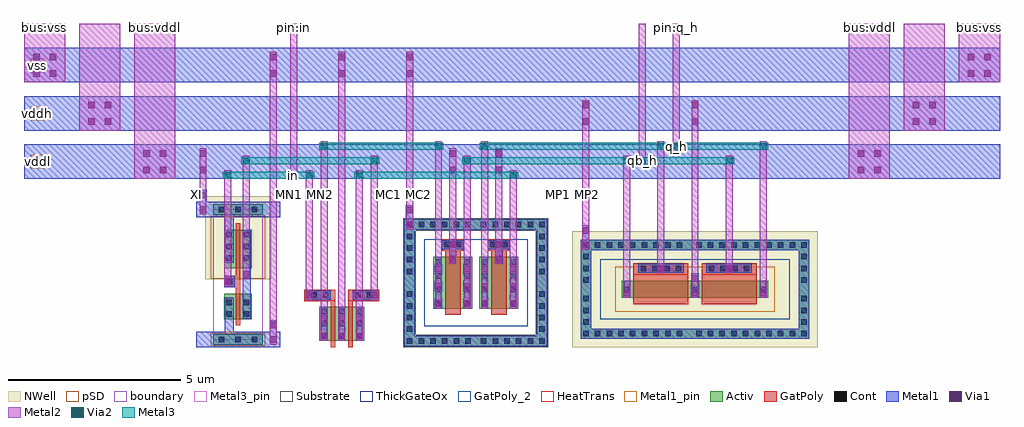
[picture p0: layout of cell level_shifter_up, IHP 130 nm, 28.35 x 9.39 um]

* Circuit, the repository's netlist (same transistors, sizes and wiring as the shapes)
** sch_path: /foss/designs/Designs/bidir-level-shifter/xschem/schematics/level_shifter_up.sch
.subckt level_shifter_up in q_h qb_h vddl vddh vss
*.PININFO vddh:B vss:B qb_h:B q_h:B vddl:B in:B
MMP1 qb_h q_h vddh vddh sg13_hv_pmos w=0.5u l=1.6u ng=1
MMP2 q_h qb_h vddh vddh sg13_hv_pmos w=0.5u l=1.6u ng=1
MMC1 qb_h vddl net1 vss sg13_hv_nmos w=1.5u l=0.45u ng=1
MMC2 q_h vddl net2 vss sg13_hv_nmos w=1.5u l=0.45u ng=1
MMN1 net1 in vss vss sg13_lv_nmos w=1.0u l=0.13u ng=1
MMN2 net2 net3 vss vss sg13_lv_nmos w=1.0u l=0.13u ng=1
XI net3 in vddl vss sg13cmos5l_inv_1
.ends

* expanding   symbol:  logic_gates/sg13cmos5l_inv_1.sym # of pins=4
** sym_path: /foss/designs/Designs/bidir-level-shifter/xschem/logic_gates/sg13cmos5l_inv_1.sym
** sch_path: /foss/designs/Designs/bidir-level-shifter/xschem/logic_gates/sg13cmos5l_inv_1.sch
.subckt sg13cmos5l_inv_1 Y A VDD VSS
*.PININFO Y:B A:B VDD:B VSS:B
MMN0 Y A VSS VSS sg13_lv_nmos w=0.74u l=0.13u ng=1
MMP0 Y A VDD VDD sg13_lv_pmos w=1.12u l=0.13u ng=1
.ends

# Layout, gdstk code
import gdstk
lib = gdstk.Library(unit=1e-6, precision=1e-09)
def R(c, l, rs):  # rectangles x0, y0, x1, y1
    for r in rs: c.add(gdstk.rectangle(r[:2], r[2:], *l))
def A(c, l, x, y, w, h, nx, ny, dx, dy):  # array of equal rectangles
    R(c, l, [(x+i*dx, y+j*dy, x+i*dx+w, y+j*dy+h) for i in range(nx) for j in range(ny)])
def P(c, l, *ps):  # polygons
    for p in ps: c.add(gdstk.Polygon(p, *l))
Activ = (1, 0)
GatPoly = (5, 0)
GatPoly_2 = (5, 2)
Cont = (6, 0)
Metal1 = (8, 0)
Metal1_pin = (8, 2)
Metal2 = (10, 0)
pSD = (14, 0)
Via1 = (19, 0)
Via2 = (29, 0)
Metal3 = (30, 0)
Metal3_pin = (30, 2)
NWell = (31, 0)
Substrate = (40, 0)
ThickGateOx = (44, 0)
HeatTrans = (51, 0)
boundary = (189, 4)

sg13cmos5l_inv_1 = lib.new_cell('sg13cmos5l_inv_1')
R(sg13cmos5l_inv_1, Activ, [(0,-0.15,1.44,0.15), (0.31,0.59,1.12,1.33), (0.31,2.075,1.12,3.195), (0,3.63,1.44,3.93)])
P(sg13cmos5l_inv_1, GatPoly, [(0.65,0.41),(0.65,1.52),(0.31,1.52),(0.31,1.85),(0.65,1.85),(0.65,3.375),(0.78,3.375),(0.78,0.41)])
A(sg13cmos5l_inv_1, Cont, 0.38, 2.285, 0.16, 0.16, 1, 3, 0, 0.34)
A(sg13cmos5l_inv_1, Cont, 0.89, 2.285, 0.16, 0.16, 1, 3, 0, 0.34)
R(sg13cmos5l_inv_1, Cont, [(0.16,-0.08,0.32,0.08), (0.16,-0.08,0.32,0.08), (0.64,-0.08,0.8,0.08), (0.64,-0.08,0.8,0.08), (1.12,-0.08,1.28,0.08), (1.12,-0.08,1.28,0.08), (0.38,0.66,0.54,0.82), (0.89,0.66,1.05,0.82), (0.38,1,0.54,1.16), (0.89,1,1.05,1.16), (0.395,1.605,0.555,1.765), (0.16,3.7,0.32,3.86), (0.16,3.7,0.32,3.86), (0.64,3.7,0.8,3.86), (0.64,3.7,0.8,3.86), (1.12,3.7,1.28,3.86), (1.12,3.7,1.28,3.86)])
R(sg13cmos5l_inv_1, Metal1, [(0.855,0.61,1.085,3.175), (0.31,1.52,0.625,1.85)])
P(sg13cmos5l_inv_1, Metal1, [(0,-0.22),(0,0.22),(0.33,0.22),(0.33,1.21),(0.59,1.21),(0.59,0.22),(1.44,0.22),(1.44,-0.22)],
  [(0.33,2.235),(0.33,3.56),(0,3.56),(0,4),(1.44,4),(1.44,3.56),(0.59,3.56),(0.59,2.235)])
R(sg13cmos5l_inv_1, Metal1_pin, [(0,-0.22,1.44,0.22), (0.855,0.61,1.085,3.175), (0.31,1.52,0.625,1.85), (0,3.56,1.44,4)])
R(sg13cmos5l_inv_1, pSD, [(-0.07,-0.18,1.51,0.18), (-0.07,1.76,1.51,3.6)])
R(sg13cmos5l_inv_1, NWell, [(-0.24,1.75,1.68,4.17)])
R(sg13cmos5l_inv_1, boundary, [(0,0,1.44,3.78)])
sg13cmos5l_inv_1.add(gdstk.Label('VDD', (0.705,3.78), layer=8, texttype=25))
sg13cmos5l_inv_1.add(gdstk.Label('VSS', (0.72,-0.02), layer=8, texttype=25))
sg13cmos5l_inv_1.add(gdstk.Label('A', (0.48,1.68), layer=8, texttype=25))
sg13cmos5l_inv_1.add(gdstk.Label('Y', (0.98,1.69), layer=8, texttype=25))

nmos = lib.new_cell('nmos')
A(nmos, Activ, 0, 0, 0.3, 0.3, 3, 1, 0.51, 0)
R(nmos, Activ, [(0,0,1.32,1)])
R(nmos, GatPoly, [(0.34,-0.18,0.47,1.18), (0.85,-0.18,0.98,1.18)])
R(nmos, GatPoly_2, [(0.34,-0.18,0.47,1.18)])
A(nmos, Cont, 0.07, 0.07, 0.16, 0.16, 3, 3, 0.51, 0.35)
A(nmos, Metal1, 0.07, 0, 0.16, 1, 3, 1, 0.51, 0)
R(nmos, Metal1_pin, [(0.07,0,0.23,1), (0.58,0,0.74,1)])
R(nmos, HeatTrans, [(0.34,-0.18,0.47,1.18), (0.85,-0.18,0.98,1.18)])
nmos.add(gdstk.Label('nmos', (0.405,0.5), layer=63, texttype=0))
nmos.add(gdstk.Label('nmos', (0.405,0.5), layer=51, texttype=0))
nmos.add(gdstk.Label('nmos', (0.915,0.5), layer=51, texttype=0))

nmoshv = lib.new_cell('nmosHV')
R(nmoshv, Activ, [(0,0,0.3,0.3), (0,0,1.13,1.5), (0.83,0,1.13,0.3)])
R(nmoshv, GatPoly, [(0.34,-0.18,0.79,1.68)])
R(nmoshv, GatPoly_2, [(0.34,-0.18,0.79,1.68)])
A(nmoshv, Cont, 0.07, 0.07, 0.16, 0.16, 1, 4, 0, 0.4)
A(nmoshv, Cont, 0.9, 0.07, 0.16, 0.16, 1, 4, 0, 0.4)
R(nmoshv, Metal1, [(0.07,0,0.23,1.5), (0.9,0,1.06,1.5)])
R(nmoshv, Metal1_pin, [(0.07,0,0.23,1.5), (0.9,0,1.06,1.5)])
R(nmoshv, ThickGateOx, [(-0.27,-0.52,1.4,2.02)])
R(nmoshv, HeatTrans, [(0.34,-0.18,0.79,1.68)])
nmoshv.add(gdstk.Label('nmosHV', (0.565,0.75), layer=63, texttype=0))
nmoshv.add(gdstk.Label('nmosHV', (0.565,0.75), layer=51, texttype=0))

guard_ring = lib.new_cell('guard_ring')
R(guard_ring, Activ, [(-2.075,-1.54,-1.775,1.54), (1.775,-1.54,2.075,1.54), (-2.075,1.54,2.075,1.84)])
P(guard_ring, Activ, [(-2.075,-1.84),(-2.075,1.54),(-1.775,1.54),(-1.775,-1.54),(1.775,-1.54),(1.775,1.54),(-2.075,1.54),(-2.075,1.84),(2.075,1.84),(2.075,-1.84)])
A(guard_ring, Cont, -2.005, -1.77, 0.16, 0.16, 6, 2, 0.34, 3.38)
A(guard_ring, Cont, 0.145, -1.77, 0.16, 0.16, 6, 2, 0.34, 3.38)
A(guard_ring, Cont, -2.005, -1.43, 0.16, 0.16, 1, 4, 0, 0.34)
A(guard_ring, Cont, 1.845, -1.43, 0.16, 0.16, 1, 4, 0, 0.34)
A(guard_ring, Cont, -2.005, 0.25, 0.16, 0.16, 1, 4, 0, 0.34)
A(guard_ring, Cont, 1.845, 0.25, 0.16, 0.16, 1, 4, 0, 0.34)
R(guard_ring, Metal1, [(-2.075,-1.84,2.075,-1.54), (-2.075,-1.54,-1.775,1.54), (1.775,-1.54,2.075,1.54), (-2.075,1.54,2.075,1.84)])
R(guard_ring, pSD, [(-2.105,-1.51,-1.745,1.51), (1.745,-1.51,2.105,1.51), (-2.105,1.51,2.105,1.87)])
P(guard_ring, pSD, [(-2.105,-1.87),(-2.105,1.51),(-1.745,1.51),(-1.745,-1.51),(1.745,-1.51),(1.745,1.51),(-2.105,1.51),(-2.105,1.87),(2.105,1.87),(2.105,-1.87)])
R(guard_ring, Substrate, [(-2.105,-1.51,-1.745,1.51), (1.745,-1.51,2.105,1.51), (-2.105,1.51,2.105,1.87)])
P(guard_ring, Substrate, [(-2.105,-1.87),(-2.105,1.51),(-1.745,1.51),(-1.745,-1.51),(1.745,-1.51),(1.745,1.51),(-2.105,1.51),(-2.105,1.87),(2.105,1.87),(2.105,-1.87)])
guard_ring.add(gdstk.Label('sub!', (0,-1.69), layer=63, texttype=0))

pmoshv = lib.new_cell('pmosHV')
A(pmoshv, Activ, 0, 0, 0.3, 0.3, 3, 1, 1.98, 0)
R(pmoshv, Activ, [(0,0,4.26,0.5)])
R(pmoshv, GatPoly, [(0.34,-0.18,1.94,0.68), (2.32,-0.18,3.92,0.68)])
R(pmoshv, GatPoly_2, [(0.34,-0.18,1.94,0.68)])
A(pmoshv, Cont, 0.07, 0.17, 0.16, 0.16, 3, 1, 1.98, 0)
A(pmoshv, Metal1, 0.07, 0, 0.16, 0.5, 3, 1, 1.98, 0)
R(pmoshv, Metal1_pin, [(0.07,0,0.23,0.5), (2.05,0,2.21,0.5)])
R(pmoshv, pSD, [(-0.18,-0.4,4.44,0.9)])
R(pmoshv, NWell, [(-0.62,-0.62,4.88,1.12)])
R(pmoshv, ThickGateOx, [(-0.62,-0.62,4.88,1.12)])
R(pmoshv, HeatTrans, [(0.34,-0.18,1.94,0.68), (2.32,-0.18,3.92,0.68)])
pmoshv.add(gdstk.Label('pmosHV', (1.14,0.25), layer=63, texttype=0))
pmoshv.add(gdstk.Label('pmos', (1.14,0.25), layer=51, texttype=0))
pmoshv.add(gdstk.Label('pmos', (3.12,0.25), layer=51, texttype=0))

guard_ring_1 = lib.new_cell('guard_ring$1')
R(guard_ring_1, Activ, [(-3.32,-1.14,-3.02,1.14), (3.02,-1.14,3.32,1.14), (-3.32,1.14,3.32,1.44)])
P(guard_ring_1, Activ, [(-3.32,-1.44),(-3.32,1.14),(-3.02,1.14),(-3.02,-1.14),(3.02,-1.14),(3.02,1.14),(-3.32,1.14),(-3.32,1.44),(3.32,1.44),(3.32,-1.44)])
A(guard_ring_1, Cont, -3.25, -1.37, 0.16, 0.16, 9, 2, 0.34, 2.58)
A(guard_ring_1, Cont, 0.03, -1.37, 0.16, 0.16, 10, 2, 0.34, 2.58)
A(guard_ring_1, Cont, -3.25, -1.03, 0.16, 0.16, 1, 3, 0, 0.34)
A(guard_ring_1, Cont, 3.09, -1.03, 0.16, 0.16, 1, 3, 0, 0.34)
A(guard_ring_1, Cont, -3.25, 0.19, 0.16, 0.16, 1, 3, 0, 0.34)
A(guard_ring_1, Cont, 3.09, 0.19, 0.16, 0.16, 1, 3, 0, 0.34)
R(guard_ring_1, Metal1, [(-3.32,-1.44,3.32,-1.14), (-3.32,-1.14,-3.02,1.14), (3.02,-1.14,3.32,1.14), (-3.32,1.14,3.32,1.44)])
R(guard_ring_1, NWell, [(-3.56,-1.68,3.56,1.68)])
guard_ring_1.add(gdstk.Label('well', (0,-1.29), layer=63, texttype=0))

level_shifter_up = lib.new_cell('level_shifter_up')
R(level_shifter_up, GatPoly, [(3.14,1.33,4.04,1.66), (4.42,1.33,5.32,1.66), (12.7,2.11,14.3,2.44), (14.68,2.11,16.28,2.44), (7.135,2.8,7.775,3.13), (8.475,2.8,9.115,3.13)])
A(level_shifter_up, Cont, 12.91, 2.21, 0.16, 0.16, 4, 1, 0.34, 0)
A(level_shifter_up, Cont, 14.89, 2.21, 0.16, 0.16, 4, 1, 0.34, 0)
R(level_shifter_up, Cont, [(3.34,1.43,3.5,1.59), (3.68,1.43,3.84,1.59), (4.62,1.43,4.78,1.59), (4.96,1.43,5.12,1.59), (7.205,2.9,7.365,3.06), (7.545,2.9,7.705,3.06), (8.545,2.9,8.705,3.06), (8.885,2.9,9.045,3.06)])
A(level_shifter_up, Metal1, 3.615, 0.18, 0.21, 0.29, 3, 2, 0.51, 0.5)
A(level_shifter_up, Metal1, 6.935, 1.12, 0.21, 0.29, 1, 3, 0, 0.5)
A(level_shifter_up, Metal1, 7.765, 1.12, 0.21, 0.29, 1, 3, 0, 0.5)
A(level_shifter_up, Metal1, 8.275, 1.12, 0.21, 0.29, 1, 3, 0, 0.5)
A(level_shifter_up, Metal1, 9.105, 1.12, 0.21, 0.29, 1, 3, 0, 0.5)
A(level_shifter_up, Metal1, 12.405, 1.43, 0.21, 0.29, 3, 1, 1.98, 0)
A(level_shifter_up, Metal1, -5, 4.89, 28.35, 1, 1, 3, 0, 1.4)
R(level_shifter_up, Metal1, [(0,0,0.5,0.44), (1.94,0,2.44,0.44), (2.135,0.075,2.345,0.365), (2.135,0.075,2.345,0.785), (3.185,1.365,3.395,1.655), (5.065,1.365,5.275,1.655), (3.27,1.38,3.91,1.64), (4.55,1.38,5.19,1.64), (14.385,1.43,14.595,2.14), (0.81,1.76,1.02,2.05), (1.355,1.965,1.565,2.255), (13.395,2.145,13.605,2.435), (15.375,2.145,15.585,2.435), (12.84,2.16,14.16,2.42), (14.82,2.16,16.14,2.42), (7.35,2.415,7.56,3.125), (8.69,2.415,8.9,3.125), (11.215,2.825,11.425,3.115), (11.215,2.825,11.425,3.535), (7.35,2.835,7.56,3.125), (8.69,2.835,8.9,3.125), (7.135,2.85,7.775,3.11), (8.475,2.85,9.115,3.11), (6.095,3.415,6.305,3.705), (6.095,3.415,6.305,4.125), (0,3.78,0.5,4.22), (1.94,3.78,2.44,4.22), (0.095,3.855,0.305,4.145), (0.095,3.855,0.305,4.565)])
A(level_shifter_up, Metal1_pin, -4.8, 5.19, 0.4, 0.4, 1, 3, 0, 1.4)
R(level_shifter_up, Metal2, [(2.14,0.075,2.34,8.575), (3.62,0.18,3.82,5.975), (4.13,0.18,4.33,8.575), (4.64,0.18,4.84,5.135), (6.94,1.12,7.14,5.975), (7.77,1.12,7.97,5.555), (8.28,1.12,8.48,5.975), (9.11,1.12,9.31,5.135), (3.19,1.365,3.39,5.135), (5.07,1.365,5.27,5.555), (12.41,1.43,12.61,5.555), (14.39,1.43,14.59,7.175), (16.37,1.43,16.57,5.975), (0.815,1.76,1.015,5.135), (1.36,1.965,1.56,5.555), (13.4,2.145,13.6,5.975), (15.38,2.145,15.58,5.555), (7.355,2.415,7.555,2.98), (8.695,2.415,8.895,2.98), (11.22,2.825,11.42,7.175), (7.355,2.835,7.555,5.775), (8.695,2.835,8.895,5.775), (6.1,3.415,6.3,8.575), (0.1,3.855,0.3,5.775), (2.74,4.845,2.94,9.39), (-1.8,4.89,-0.6,9.39), (18.95,4.89,20.15,9.39), (12.86,5.265,13.06,9.39), (13.85,5.685,14.05,9.39), (-3.4,6.29,-2.2,9.39), (20.55,6.29,21.75,9.39), (-5,7.69,-3.8,9.39), (22.15,7.69,23.35,9.39)])
A(level_shifter_up, Via1, 3.625, 0.23, 0.19, 0.19, 3, 2, 0.51, 0.5)
A(level_shifter_up, Via1, 6.945, 1.17, 0.19, 0.19, 1, 3, 0, 0.5)
A(level_shifter_up, Via1, 7.775, 1.17, 0.19, 0.19, 1, 3, 0, 0.5)
A(level_shifter_up, Via1, 8.285, 1.17, 0.19, 0.19, 1, 3, 0, 0.5)
A(level_shifter_up, Via1, 9.115, 1.17, 0.19, 0.19, 1, 3, 0, 0.5)
A(level_shifter_up, Via1, 12.415, 1.48, 0.19, 0.19, 3, 1, 1.98, 0)
R(level_shifter_up, Via1, [(2.145,0.125,2.335,0.315), (2.145,0.545,2.335,0.735), (3.195,1.415,3.385,1.605), (5.075,1.415,5.265,1.605), (0.82,1.81,1.01,2), (14.395,1.9,14.585,2.09), (1.365,2.015,1.555,2.205), (13.405,2.195,13.595,2.385), (15.385,2.195,15.575,2.385), (7.36,2.465,7.55,2.655), (8.7,2.465,8.89,2.655), (11.225,2.875,11.415,3.065), (7.36,2.885,7.55,3.075), (8.7,2.885,8.89,3.075), (11.225,3.295,11.415,3.485), (6.105,3.465,6.295,3.655), (6.105,3.885,6.295,4.075), (0.105,3.905,0.295,4.095), (0.105,4.325,0.295,4.515), (-1.535,5.055,-1.345,5.245), (-1.055,5.055,-0.865,5.245), (0.105,5.055,0.295,5.245), (7.36,5.055,7.55,5.245), (8.7,5.055,8.89,5.245), (19.215,5.055,19.405,5.245), (19.695,5.055,19.885,5.245), (-1.535,5.535,-1.345,5.725), (-1.055,5.535,-0.865,5.725), (0.105,5.535,0.295,5.725), (7.36,5.535,7.55,5.725), (8.7,5.535,8.89,5.725), (19.215,5.535,19.405,5.725), (19.695,5.535,19.885,5.725), (-3.135,6.455,-2.945,6.645), (-2.655,6.455,-2.465,6.645), (11.225,6.455,11.415,6.645), (14.395,6.455,14.585,6.645), (20.815,6.455,21.005,6.645), (21.295,6.455,21.485,6.645), (-3.135,6.935,-2.945,7.125), (-2.655,6.935,-2.465,7.125), (11.225,6.935,11.415,7.125), (14.395,6.935,14.585,7.125), (20.815,6.935,21.005,7.125), (21.295,6.935,21.485,7.125), (-4.735,7.855,-4.545,8.045), (-4.255,7.855,-4.065,8.045), (2.145,7.855,2.335,8.045), (4.135,7.855,4.325,8.045), (6.105,7.855,6.295,8.045), (22.415,7.855,22.605,8.045), (22.895,7.855,23.085,8.045), (-4.735,8.335,-4.545,8.525), (-4.255,8.335,-4.065,8.525), (2.145,8.335,2.335,8.525), (4.135,8.335,4.325,8.525), (6.105,8.335,6.295,8.525), (22.415,8.335,22.605,8.525), (22.895,8.335,23.085,8.525)])
R(level_shifter_up, Via2, [(0.82,4.895,1.01,5.085), (2.745,4.895,2.935,5.085), (3.195,4.895,3.385,5.085), (4.645,4.895,4.835,5.085), (9.115,4.895,9.305,5.085), (1.365,5.315,1.555,5.505), (5.075,5.315,5.265,5.505), (7.775,5.315,7.965,5.505), (12.415,5.315,12.605,5.505), (12.865,5.315,13.055,5.505), (15.385,5.315,15.575,5.505), (3.625,5.735,3.815,5.925), (6.945,5.735,7.135,5.925), (8.285,5.735,8.475,5.925), (13.405,5.735,13.595,5.925), (13.855,5.735,14.045,5.925), (16.375,5.735,16.565,5.925)])
R(level_shifter_up, Metal3, [(0.77,4.89,3.435,5.09), (4.595,4.89,9.355,5.09), (1.315,5.31,5.315,5.51), (7.725,5.31,15.625,5.51), (3.575,5.73,7.185,5.93), (8.235,5.73,16.615,5.93)])
R(level_shifter_up, Metal3_pin, [(2.775,4.925,2.905,5.055), (12.895,5.345,13.025,5.475), (13.885,5.765,14.015,5.895)])
R(level_shifter_up, ThickGateOx, [(6.62,0.6,9.63,3.14), (11.74,0.81,17.24,2.55)])
level_shifter_up.add(gdstk.Reference(sg13cmos5l_inv_1, (0.5,0.22)))
level_shifter_up.add(gdstk.Reference(nmos, (3.57,0.18)))
level_shifter_up.add(gdstk.Reference(nmoshv, (6.89,1.12)))
level_shifter_up.add(gdstk.Reference(nmoshv, (8.23,1.12)))
level_shifter_up.add(gdstk.Reference(guard_ring, (8.125,1.87)))
level_shifter_up.add(gdstk.Reference(pmoshv, (12.36,1.43)))
level_shifter_up.add(gdstk.Reference(guard_ring_1, (14.49,1.68)))
level_shifter_up.add(gdstk.Label('vddl', (-4.6,5.39), layer=8, texttype=25))
level_shifter_up.add(gdstk.Label('vddh', (-4.6,6.79), layer=8, texttype=25))
level_shifter_up.add(gdstk.Label('vss', (-4.6,8.19), layer=8, texttype=25))
level_shifter_up.add(gdstk.Label('in', (2.84,4.99), layer=30, texttype=25))
level_shifter_up.add(gdstk.Label('q_h', (13.95,5.83), layer=30, texttype=25))
level_shifter_up.add(gdstk.Label('qb_h', (12.96,5.41), layer=30, texttype=25))
level_shifter_up.add(gdstk.Label('XI', (0,4.44), layer=63, texttype=0))
level_shifter_up.add(gdstk.Label('MN1 MN2', (3.14,4.44), layer=63, texttype=0))
level_shifter_up.add(gdstk.Label('MC1 MC2', (6.02,4.44), layer=63, texttype=0))
level_shifter_up.add(gdstk.Label('MP1 MP2', (10.93,4.44), layer=63, texttype=0))
level_shifter_up.add(gdstk.Label('pin:in', (2.84,9.29), layer=63, texttype=0))
level_shifter_up.add(gdstk.Label('pin:q_h', (13.95,9.29), layer=63, texttype=0))
level_shifter_up.add(gdstk.Label('pin:qb_h', (12.96,9.29), layer=63, texttype=0))
level_shifter_up.add(gdstk.Label('bus:vddl', (-1.2,9.29), layer=63, texttype=0))
level_shifter_up.add(gdstk.Label('bus:vddl', (19.55,9.29), layer=63, texttype=0))
level_shifter_up.add(gdstk.Label('bus:vddh', (-2.8,9.29), layer=63, texttype=0))
level_shifter_up.add(gdstk.Label('bus:vddh', (21.15,9.29), layer=63, texttype=0))
level_shifter_up.add(gdstk.Label('bus:vss', (-4.4,9.29), layer=63, texttype=0))
level_shifter_up.add(gdstk.Label('bus:vss', (22.75,9.29), layer=63, texttype=0))

lib.write_gds('level_shifter_up.gds')
